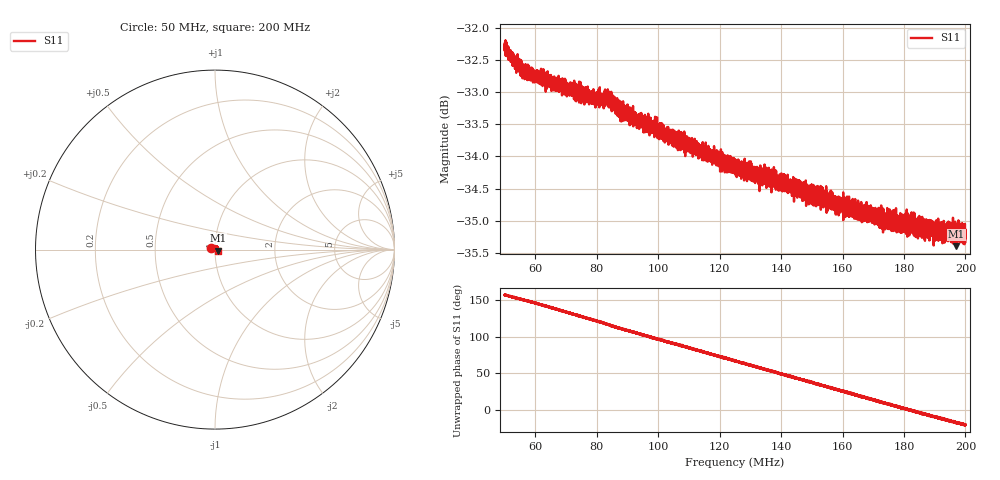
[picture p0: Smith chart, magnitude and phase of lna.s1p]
! COPPER MOUNTAIN TECHNOLOGIES, PLANAR TR1300/1, 00071119, 20.2.2/1.0
! Date: 12/11/2023 3:40:11 PM
! Data: Format [Calibration Info]
! Freq  S11: Re/Im F1
# HZ S RI R 50
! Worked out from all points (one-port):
!   12288 points, 50 MHz to 200 MHz, reference 50 ohm
!   lowest |S11| = -35.4 dB at 197 MHz (marker M1), VSWR 1.03, Z = 51.6 - j0.522 ohm
!   |S11| at or under -10 dB: start of sweep to end of sweep
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5e7  -0.0222 0.00952
5.072027e7  -0.0224 0.00965
5.305201e7  -0.0212 0.0106
5.596972e7  -0.0204 0.0114
6.303817e7  -0.018 0.014
6.875153e7  -0.0162 0.0159
7.933588e7  -0.0118 0.0188
8.191178e7  -0.0108 0.0195
8.380402e7  -0.00984 0.0198
8.750305e7  -0.00805 0.0199
1.062546e8  5.9e-05 0.0204
1.13848e8  0.00323 0.02
1.209408e8  0.0062 0.019
1.225767e8  0.00657 0.0184
1.250061e8  0.00765 0.0179
1.291202e8  0.0089 0.0172
1.437576e8  0.0133 0.013
1.625092e8  0.0165 0.00691
1.694921e8  0.0175 0.00431
1.724099e8  0.0174 0.0035
1.767193e8  0.0177 0.00177
1.783308e8  0.0178 0.00111
1.812607e8  0.0176 0.000239
1.842272e8  0.0176 -0.000777
1.93957e8  0.0167 -0.00404
1.970334e8  0.0162 -0.00506
1.984984e8  0.0163 -0.00538
2e8  0.0165 -0.00586
